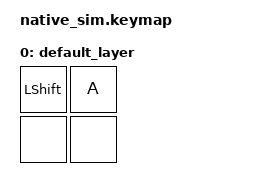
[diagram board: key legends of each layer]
#include <behaviors.dtsi>
#include <dt-bindings/zmk/keys.h>
#include <dt-bindings/zmk/kscan_mock.h>

/ {
    keymap {
        compatible = "zmk,keymap";

        default_layer {
            bindings = <
                &kp LSHFT &kp A
                &none &none
            >;
        };
    };
};

&kscan {
    /delete-property/ exit-after;
    events = <
        ZMK_MOCK_PRESS(1,1,5000)
        ZMK_MOCK_RELEASE(1,1,10)
    >;
};
